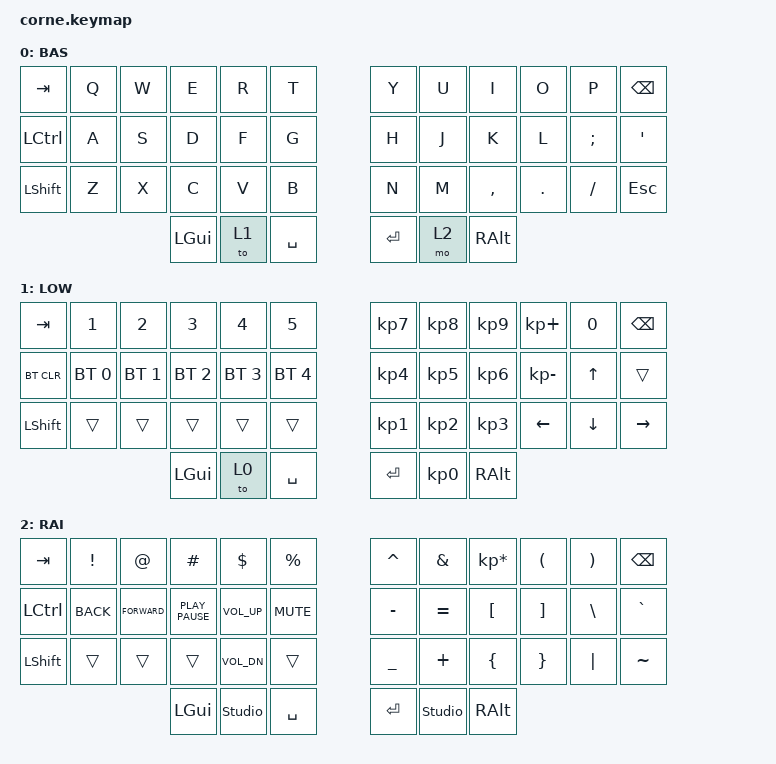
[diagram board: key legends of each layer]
/*
 * Copyright (c) 2020 The ZMK Contributors
 *
 * SPDX-License-Identifier: MIT
 */

#include <dt-bindings/led/led.h>
#include <dt-bindings/zmk/reset.h>
#include <behaviors.dtsi>
#include <dt-bindings/zmk/bt.h>
#include <dt-bindings/zmk/keys.h>

&led_strip { chain-length = <27>; };

/ {
    keymap {
        compatible = "zmk,keymap";

        default_layer {
            display-name = "BAS";

            // -----------------------------------------------------------------------------------------
            // |  TAB |  Q  |  W  |  E  |  R  |  T  |   |  Y  |  U   |  I  |  O  |  P  | BKSP |
            // | CTRL |  A  |  S  |  D  |  F  |  G  |   |  H  |  J   |  K  |  L  |  ;  |  '   |
            // | SHFT |  Z  |  X  |  C  |  V  |  B  |   |  N  |  M   |  ,  |  .  |  /  | ESC  |
            //                    | GUI | LWR | SPC |   | ENT | RSE  | ALT |

            bindings = <
&kp TAB    &kp Q  &kp W  &kp E     &kp R  &kp T        &kp Y    &kp U  &kp I      &kp O    &kp P     &kp BSPC
&kp LCTRL  &kp A  &kp S  &kp D     &kp F  &kp G        &kp H    &kp J  &kp K      &kp L    &kp SEMI  &kp SQT
&kp LSHFT  &kp Z  &kp X  &kp C     &kp V  &kp B        &kp N    &kp M  &kp COMMA  &kp DOT  &kp FSLH  &kp ESC
                         &kp LGUI  &to 1  &kp SPACE    &kp RET  &mo 2  &kp RALT
            >;
        };

        lower_layer {
            display-name = "LOW";

            // -----------------------------------------------------------------------------------------
            // |  TAB |  1  |  2  |  3  |  4  |  5  |   |  6  |  7  |  8  |  9  |  0  | BKSP |
            // | BTCLR| BT1 | BT2 | BT3 | BT4 | BT5 |   | LFT | DWN |  UP | RGT |     |      |
            // | SHFT |     |     |     |     |     |   |     |     |     |     |     |      |
            //                    | GUI |     | SPC |   | ENT |     | ALT |

            bindings = <
&kp TAB     &kp N1        &kp N2        &kp N3        &kp N4        &kp N5          &kp KP_NUMBER_7  &kp KP_NUMBER_8  &kp KP_NUMBER_9  &kp KP_PLUS      &kp N0        &kp BSPC
&bt BT_CLR  &bt BT_SEL 0  &bt BT_SEL 1  &bt BT_SEL 2  &bt BT_SEL 3  &bt BT_SEL 4    &kp KP_NUMBER_4  &kp KP_NUMBER_5  &kp KP_NUMBER_6  &kp KP_SUBTRACT  &kp UP_ARROW  &trans
&kp LSHFT   &trans        &trans        &trans        &trans        &trans          &kp KP_NUMBER_1  &kp KP_NUMBER_2  &kp KP_NUMBER_3  &kp LEFT         &kp DOWN      &kp RIGHT
                                        &kp LGUI      &to 0         &kp SPACE       &kp RET          &kp KP_NUMBER_0  &kp RALT
            >;
        };

        raise_layer {
            display-name = "RAI";

            // -----------------------------------------------------------------------------------------
            // |  TAB |  !  |  @  |  #  |  $  |  %  |   |  ^  |  &  |  *  |  (  |  )  | BKSP |
            // | CTRL |     |     |     |     |     |   |  -  |  =  |  [  |  ]  |  \  |  `   |
            // | SHFT |     |     |     |     |     |   |  _  |  +  |  {  |  }  | "|" |  ~   |
            //                    | GUI |     | SPC |   | ENT |     | ALT |

            bindings = <
&kp TAB    &kp EXCL    &kp AT         &kp HASH          &kp DLLR        &kp PRCNT     &kp CARET  &kp AMPS        &kp KP_MULTIPLY  &kp LPAR  &kp RPAR  &kp BSPC
&kp LCTRL  &kp K_BACK  &kp K_FORWARD  &kp K_PLAY_PAUSE  &kp C_VOL_UP    &kp K_MUTE    &kp MINUS  &kp EQUAL       &kp LBKT         &kp RBKT  &kp BSLH  &kp GRAVE
&kp LSHFT  &trans      &trans         &trans            &kp C_VOL_DN    &trans        &kp UNDER  &kp PLUS        &kp LBRC         &kp RBRC  &kp PIPE  &kp TILDE
                                      &kp LGUI          &studio_unlock  &kp SPACE     &kp RET    &studio_unlock  &kp RALT
            >;
        };

        extra_1 { status = "reserved"; };

        extra_2 { status = "reserved"; };

        extra_3 { status = "reserved"; };
    };
};
